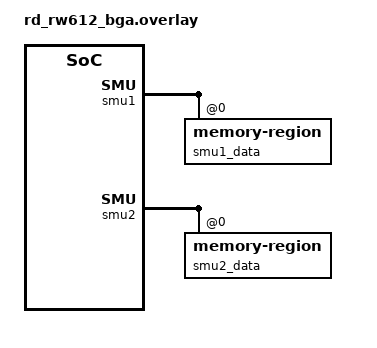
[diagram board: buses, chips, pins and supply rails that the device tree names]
/* SPDX-License-Identifier: Apache-2.0 */

#include <zephyr/dt-bindings/memory-attr/memory-attr-arm.h>

&smu1 {
	#address-cells = <1>;
	#size-cells = <1>;

	smu1_data: memory@0 {
		compatible = "zephyr,memory-region","mmio-sram";
		reg = <0x0 DT_SIZE_K(510)>;
		zephyr,memory-region = "SMU1";
		zephyr,memory-attr = <( DT_MEM_ARM(ATTR_MPU_RAM) )>;
	};
};

&smu2 {
	#address-cells = <1>;
	#size-cells = <1>;

	smu2_data: memory@0 {
		compatible = "zephyr,memory-region","mmio-sram";
		reg = <0x0 DT_SIZE_K(140)>;
		zephyr,memory-region = "SMU2";
		zephyr,memory-attr = <( DT_MEM_ARM(ATTR_MPU_RAM) )>;
	};
};
